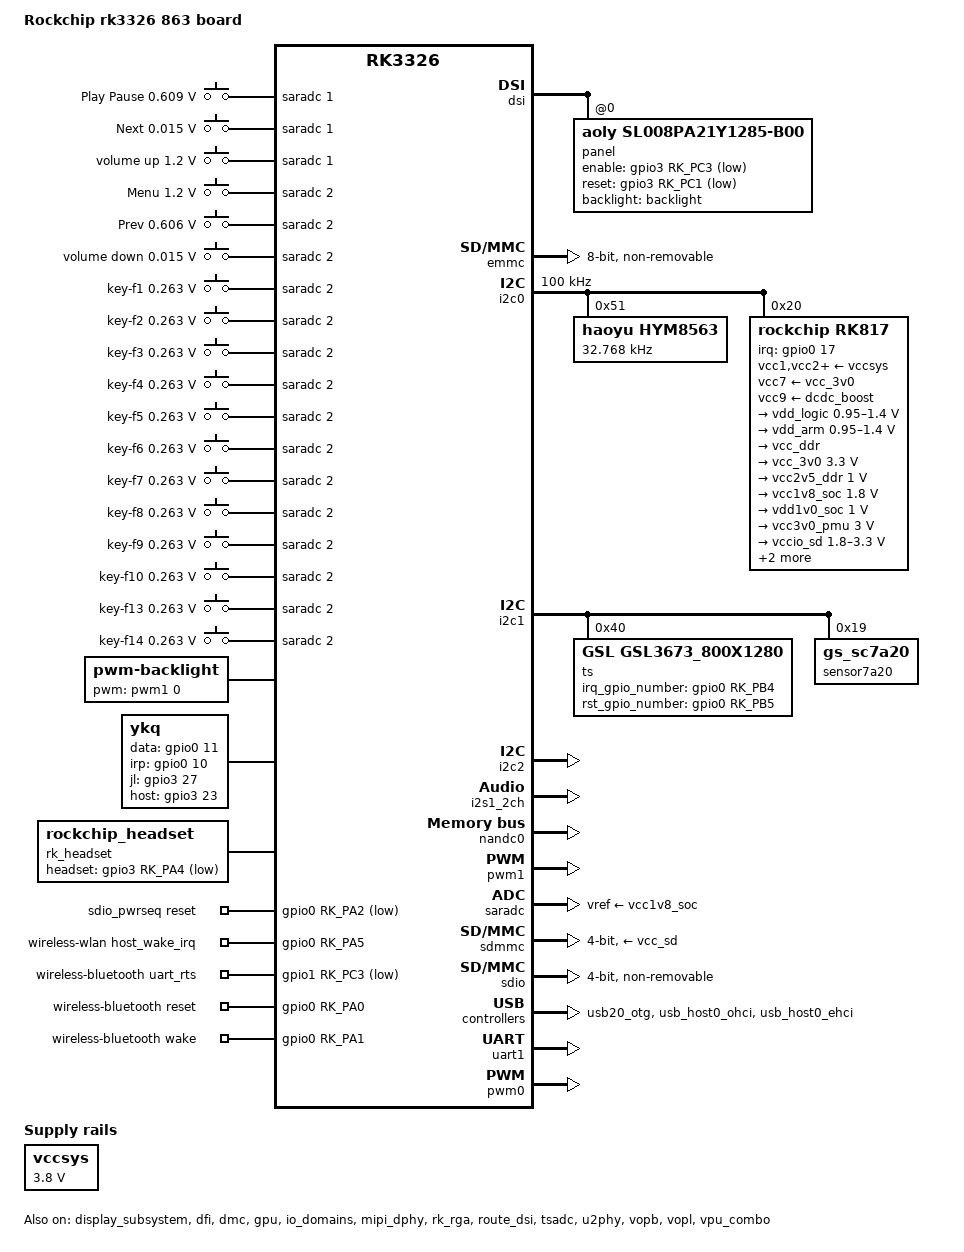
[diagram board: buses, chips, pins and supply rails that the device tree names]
/*
 * Copyright (c) 2017 Fuzhou Rockchip Electronics Co., Ltd
 *
 * SPDX-License-Identifier: (GPL-2.0+ OR MIT)
 */

/dts-v1/;
#include <dt-bindings/display/drm_mipi_dsi.h>
#include <dt-bindings/gpio/gpio.h>
#include <dt-bindings/input/input.h>
#include <dt-bindings/pinctrl/rockchip.h>
#include <dt-bindings/sensor-dev.h>
#include "rk3326.dtsi"
#include "rk3326-863-cif-sensor.dtsi"
#include "px30-android.dtsi"

/ {
	model = "Rockchip rk3326 863 board";
	compatible = "rockchip,rk3326-863-lp3-v10", "rockchip,rk3326";

	adc-keys0 {
		compatible = "adc-keys0";
		io-channels = <&saradc 1>;
		io-channel-names = "buttons";
		poll-interval = <100>;
		keyup-threshold-microvolt = <1800000>;

		button-Play {
			label = "Play Pause";
			linux,code = <KEY_ENTER>;//KEY_LEFT
			press-threshold-microvolt = <609000>;
		};		
		
		button-next {
			label = "Next";
			linux,code = <KEY_UP>;//KEY_UP
			press-threshold-microvolt = <15000>;
		};
		
		vol-up-key {
			linux,code = <KEY_RIGHT>;//KEY_BACK
			label = "volume up";
			press-threshold-microvolt = <1200000>;
		};


				
	};
	
	adc-keys {
		compatible = "adc-keys";
		io-channels = <&saradc 2>;
		io-channel-names = "buttons";
		poll-interval = <100>;
		keyup-threshold-microvolt = <1800000>;
		
		button-menu {
			label = "Menu";
			linux,code = <KEY_BACK>;//KEY_DOWN
			press-threshold-microvolt = <1200000>;
		};
		button-prev {
			label = "Prev";
			linux,code = <KEY_DOWN>;//KEY_ENTER
			press-threshold-microvolt = <606000>;
		};
		vol-down-key {
			linux,code = <KEY_LEFT>;
			label = "volume down";
			press-threshold-microvolt = <15000>;
		};

// init ykq key		
		key-f1-key {
			linux,code = <KEY_PREVIOUSSONG>;
			label = "key-f1";
			press-threshold-microvolt = <263000>;
		};		


		key-f2-key {
			linux,code = <KEY_VOLUMEUP>;
			label = "key-f2";
			press-threshold-microvolt = <263000>;
		};

		key-f3-key {
			linux,code = <KEY_NEXTSONG>;
			label = "key-f3";
			press-threshold-microvolt = <263000>;
		};		


		key-f4-key {
			linux,code = <KEY_VOLUMEDOWN>;
			label = "key-f4";
			press-threshold-microvolt = <263000>;
		};
		
		key-f5-key {
			linux,code = <KEY_PLAYPAUSE>;
			label = "key-f5";
			press-threshold-microvolt = <263000>;
		};		


		key-f6-key {
			linux,code = <KEY_BACK>;
			label = "key-f6";
			press-threshold-microvolt = <263000>;
		};

		key-f7-key {
			linux,code = <KEY_HOMEPAGE>;
			label = "key-f7";
			press-threshold-microvolt = <263000>;
		};		


		key-f8-key {
			linux,code = <KEY_F8>;
			label = "key-f8";
			press-threshold-microvolt = <263000>;
		};
						
		key-f9-key {
			linux,code = <KEY_MENU>;
			label = "key-f9";
			press-threshold-microvolt = <263000>;
		};		
		key-f10-key {
			linux,code = <KEY_MUTE>;
			label = "key-f10";
			press-threshold-microvolt = <263000>;
		};		
     key-f13-key {
      linux,code = <KEY_POWER>;
      label = "key-f13";
      press-threshold-microvolt = <263000>;
     };
     key-f14-key {
      linux,code = <KEY_F1>;
      label = "key-f14";
      press-threshold-microvolt = <263000>;
     };

				
	};

	backlight: backlight {
		compatible = "pwm-backlight";
		pwms = <&pwm1 0 25000 0>;
		brightness-levels = <
			 0   10  10  11  11  12  12  13
			 13  14  14  15  15  16  16  17
			 17  18  18  19  20  21  22  23
			 24  25  26  27  28  29  30  31
			 32  33  34  35  36  37  38  39
			 40  41  42  43  44  45  46  47
			 48  49  50  51  52  53  54  55
			 56  57  58  59  60  61  62  63
			 64  65  66  67  68  69  70  71
			 72  73  74  75  76  77  78  79
			 80  81  82  83  84  85  86  87
			 88  89  90  91  92  93  94  95
			 96  97  98  99 100 101 102 103
			104 105 106 107 108 109 110 111
			112 113 114 115 116 117 118 119
			120 121 122 123 124 125 126 127
			128 129 130 131 132 133 134 135
			136 137 138 139 140 141 142 143
			144 145 146 147 148 149 150 151
			152 153 154 155 156 157 158 159
			160 161 162 163 164 165 166 167
			168 169 170 171 172 173 174 175
			176 177 178 179 180 181 182 183
			184 185 186 187 188 189 190 191
			192 193 194 195 196 197 198 199
			200 201 202 203 204 205 206 207
			208 209 210 211 212 213 214 215
			216 217 218 219 220 221 222 223
			224 225 226 227 228 229 230 231
			232 233 234 235 236 237 238 239
			240 241 242 243 244 245 246 247
			248 249 250 251 252 253 254 255>;
		default-brightness-level = <200>;
	};

	charge-animation {
		compatible = "rockchip,uboot-charge";
		rockchip,uboot-charge-on = <0>;
		rockchip,android-charge-on = <0>;
		rockchip,uboot-low-power-voltage = <3500>;
		rockchip,screen-on-voltage = <3600>;
		status = "disabled";
	};
	ykq {
                compatible = "ykq";
                data-gpio = <&gpio0 11 GPIO_ACTIVE_HIGH>;
                irp-gpio = <&gpio0 10 IRQ_TYPE_LEVEL_HIGH>; //0 10
                jl-gpio = <&gpio3 27 IRQ_TYPE_LEVEL_HIGH>;
                host-gpio=<&gpio3 23 GPIO_ACTIVE_HIGH>;
                status = "okay";
        };
/*	jl {
                compatible = "jl";
                irp-gpio = <&gpio3 27 IRQ_TYPE_LEVEL_HIGH>; 
                status = "okay";
        };   */     
	rk817-sound {
		compatible = "simple-audio-card";
		simple-audio-card,format = "i2s";
		simple-audio-card,name = "rockchip,rk817-codec";
		simple-audio-card,mclk-fs = <256>;
		simple-audio-card,widgets =
			"Microphone", "Mic Jack",
			"Headphone", "Headphone Jack";
		simple-audio-card,routing =
			"Mic Jack", "MICBIAS1",
			"IN1P", "Mic Jack",
			"Headphone Jack", "HPOL",
			"Headphone Jack", "HPOR";
		simple-audio-card,cpu {
			sound-dai = <&i2s1_2ch>;
		};
		simple-audio-card,codec {
			sound-dai = <&rk817_codec>;
		};
	};

	rk_headset {
		compatible = "rockchip_headset";
		headset_gpio = <&gpio3 RK_PA4 GPIO_ACTIVE_LOW>;
		pinctrl-names = "default";
		pinctrl-0 = <&hp_det>;
	};

	sdio_pwrseq: sdio-pwrseq {
		compatible = "mmc-pwrseq-simple";
		clocks = <&rk817 1>;
		clock-names = "ext_clock";
		pinctrl-names = "default";
		pinctrl-0 = <&wifi_enable_h>;

		/*
		 * On the module itself this is one of these (depending
		 * on the actual card populated):
		 * - SDIO_RESET_L_WL_REG_ON
		 * - PDN (power down when low)
		 */
		reset-gpios = <&gpio0 RK_PA2 GPIO_ACTIVE_LOW>; /* GPIO3_A4 */
	};

	vccsys: vccsys {
		compatible = "regulator-fixed";
		regulator-name = "vcc3v8_sys";
		regulator-always-on;
		regulator-boot-on;
		regulator-min-microvolt = <3800000>;
		regulator-max-microvolt = <3800000>;
	};

	wireless-wlan {
		compatible = "wlan-platdata";
		wifi_chip_type = "rtl8723cs";//rtl8723cs  ap6255
		WIFI,host_wake_irq = <&gpio0 RK_PA5 GPIO_ACTIVE_HIGH>;
	//	WIFI,vbat_gpio = <&gpio3 RK_PB6 GPIO_ACTIVE_LOW>;
		status = "okay";
	};

	wireless-bluetooth {
		compatible = "bluetooth-platdata";
		uart_rts_gpios = <&gpio1 RK_PC3 GPIO_ACTIVE_LOW>;
		pinctrl-names = "default","rts_gpio";
		pinctrl-0 = <&uart1_rts>;
		pinctrl-1 = <&uart1_rts_gpio>;
		BT,reset_gpio = <&gpio0 RK_PA0 GPIO_ACTIVE_HIGH>;
		BT,wake_gpio = <&gpio0 RK_PA1 GPIO_ACTIVE_HIGH>;
		//BT,wake_host_irq = <&gpio0 RK_PA7 GPIO_ACTIVE_HIGH>;
		status = "okay";
	};

};

&cif {
	status = "disabled";
};

&cif_sensor {
	status = "disabled";
};

&display_subsystem {
	status = "okay";
};

&dsi {
	status = "okay";

	panel@0 {
		compatible = "aoly,sl008pa21y1285-b00", "simple-panel-dsi";
		reg = <0>;
		backlight = <&backlight>;
	//	power-supply = <&vcc5v0_host>;//vcc5v0_host  vcc3v3_lcd
	//	power-invert;
		enable-gpios = <&gpio3 RK_PC3 GPIO_ACTIVE_LOW>;
		reset-gpios = <&gpio3 RK_PC1 GPIO_ACTIVE_LOW>;
		prepare-delay-ms = <20>;
		reset-delay-ms = <20>;
		init-delay-ms = <20>;
		enable-delay-ms = <120>;
		disable-delay-ms = <20>;
		unprepare-delay-ms = <20>;

		width-mm = <108>;
		height-mm = <172>;

		dsi,flags = <(MIPI_DSI_MODE_VIDEO | MIPI_DSI_MODE_VIDEO_BURST |
			      MIPI_DSI_MODE_LPM | MIPI_DSI_MODE_EOT_PACKET)>;
		dsi,format = <MIPI_DSI_FMT_RGB888>;
		dsi,lanes = <4>;

		panel-init-sequence = [
/*

15 00 02  E0  00 

//--- PASSWORD  ----//
15 00 02  E1  93 
15 00 02  E2  65 
15 00 02  E3  F8 
15 00 02  80  03 



//--- Page1  ----//
15 00 02  E0  01 

//Set VCOM
15 00 02  01  67 

//Set Gamma Power, VGMP,VGMN,VGSP,VGSN
15 00 02  17  00 
15 00 02  18  BF //4.5V, D7=4.8V
15 00 02  19  01 //0.0V
15 00 02  1A  00 
15 00 02  1B  BF 
15 00 02  1C  01 
                
//Set Gate Power
15 00 02  1F  70 	//VGH_REG=16.2V
15 00 02  20  2D 	//VGL_REG=-12V
15 00 02  21  2D 	//VGL_REG2=-12V
15 00 02  22  7E 	


15 00 02  35  28 	//SAP

15 00 02  37  19 	//SS=1,BGR=1

//SET RGBCYC
15 00 02  38  05 	//JDT=101 zigzag inversion
15 00 02  39  00 
15 00 02  3A  01 
15 00 02  3C  7C 	//SET EQ3 for TE_H
15 00 02  3D  FF 	//SET CHGEN_ON, modify 20140806 
15 00 02  3E  FF 	//SET CHGEN_OFF, modify 20140806 
15 00 02  3F  7F 	//SET CHGEN_OFF2, modify 20140806


//Set TCON
15 00 02  40  06 	//RSO=
15 00 02  41  A0 	//LN=640->1280 line
15 00 02  43  1E 	//VFP=30
15 00 02  44  0B 	//VBP=12
15 00 02  45  28   //HBP=40

//--- power voltage  ----//
15 00 02  55  0F 	//DCDCM=1111
15 00 02  57  A9 
//15 00 02  58  0A 
15 00 02  59  0A 	//VCL = -2.5V
15 00 02  5A  2E 	//VGH = 16.2V
15 00 02  5B  1A 	//VGL = -12V
15 00 02  5C  15 	//pump clk


//--- Gamma  ----//
15 00 02  5D  7F 
15 00 02  5E  64 
15 00 02  5F  53 
15 00 02  60  47 
15 00 02  61  43 
15 00 02  62  33 
15 00 02  63  37 
15 00 02  64  21 
15 00 02  65  39 
15 00 02  66  37 
15 00 02  67  34 
15 00 02  68  50 
15 00 02  69  3D 
15 00 02  6A  44 
15 00 02  6B  36 
15 00 02  6C  34 
15 00 02  6D  25 
15 00 02  6E  15 
15 00 02  6F  02 
15 00 02  70  7F 
15 00 02  71  64 
15 00 02  72  53 
15 00 02  73  47 
15 00 02  74  43 
15 00 02  75  33 
15 00 02  76  37 
15 00 02  77  21 
15 00 02  78  39 
15 00 02  79  37 
15 00 02  7A  34 
15 00 02  7B  50 
15 00 02  7C  3D 
15 00 02  7D  44 
15 00 02  7E  36 
15 00 02  7F  34 
15 00 02  80  25 
15 00 02  81  15 
15 00 02  82  02 


//Page2, for GIP
15 00 02  E0  02 

//GIP_L Pin mapping
15 00 02  00  52 //RESET_EVEN
15 00 02  01  55 //VSSG_EVEN 
15 00 02  02  55 //VSSG_EVEN 
15 00 02  03  50 //STV2_ODD  
15 00 02  04  77 //VDD2_ODD  
15 00 02  05  57 //VDD1_ODD  
15 00 02  06  55 //x         
15 00 02  07  4E //CK11      
15 00 02  08  4C //CK9       
15 00 02  09  5F //x         
15 00 02  0A  4A //CK7       
15 00 02  0B  48 //CK5       
15 00 02  0C  55 //x         
15 00 02  0D  46 //CK3       
15 00 02  0E  44 //CK1       
15 00 02  0F  40 //STV1_ODD  
15 00 02  10  55 //x         
15 00 02  11  55 //x         
15 00 02  12  55 //x         
15 00 02  13  55 //x         
15 00 02  14  55 //x         
15 00 02  15  55 //x         

//GIP_R Pin mapping
15 00 02  16  53 //RESET__EVEN
15 00 02  17  55 //VSSG_EVEN  
15 00 02  18  55 //VSSG_EVEN  
15 00 02  19  51 //STV2_EVEN  
15 00 02  1A  77 //VDD2_EVEN  
15 00 02  1B  57 //VDD1_EVEN  
15 00 02  1C  55 //x          
15 00 02  1D  4F //CK12       
15 00 02  1E  4D //CK10       
15 00 02  1F  5F //x          
15 00 02  20  4B //CK8        
15 00 02  21  49 //CK6        
15 00 02  22  55 //x          
15 00 02  23  47 //CK4        
15 00 02  24  45 //CK2        
15 00 02  25  41 //STV1_EVEN  
15 00 02  26  55 //x          
15 00 02  27  55 //x          
15 00 02  28  55 //x          
15 00 02  29  55 //x          
15 00 02  2A  55 //x          
15 00 02  2B  55 //x          
                      
//GIP_L_GS Pin mapping
15 00 02  2C  13 //RESET_EVEN     
15 00 02  2D  15 //VSSG_EVEN         
15 00 02  2E  15 //VSSG_EVEN       
15 00 02  2F  01 //STV2_ODD        
15 00 02  30  37 //VDD2_ODD        
15 00 02  31  17 //VDD1_ODD        
15 00 02  32  15 //x               
15 00 02  33  0D //CK11            
15 00 02  34  0F //CK9             
15 00 02  35  15 //x               
15 00 02  36  05 //CK7             
15 00 02  37  07 //CK5             
15 00 02  38  15 //x               
15 00 02  39  09 //CK3             
15 00 02  3A  0B //CK1             
15 00 02  3B  11 //STV1_ODD        
15 00 02  3C  15 //x               
15 00 02  3D  15 //x               
15 00 02  3E  15 //x               
15 00 02  3F  15 //x               
15 00 02  40  15 //x               
15 00 02  41  15 //x              
                                       
//GIP_R_GS Pin mapping                 
15 00 02  42  12 //RESET__EVEN    
15 00 02  43  15 //VSSG_EVEN         
15 00 02  44  15 //VSSG_EVEN       
15 00 02  45  00 //STV2_EVEN       
15 00 02  46  37 //VDD2_EVEN       
15 00 02  47  17 //VDD1_EVEN       
15 00 02  48  15 //x               
15 00 02  49  0C //CK12            
15 00 02  4A  0E //CK10            
15 00 02  4B  15 //x               
15 00 02  4C  04 //CK8             
15 00 02  4D  06 //CK6             
15 00 02  4E  15 //x               
15 00 02  4F  08 //CK4             
15 00 02  50  0A //CK2              
15 00 02  51  10 //STV1_EVEN       
15 00 02  52  15 //x               
15 00 02  53  15 //x               
15 00 02  54  15 //x               
15 00 02  55  15 //x               
15 00 02  56  15 //x               
15 00 02  57  15 //x               

//GIP Timing  
15 00 02  58  40  
15 00 02  5B  10  
15 00 02  5C  06 //STV_S0 
15 00 02  5D  40  
15 00 02  5E  00  
15 00 02  5F  00  
15 00 02  60  40 //ETV_W 
15 00 02  61  03  
15 00 02  62  04  
15 00 02  63  6C //CKV_ON 
15 00 02  64  6C //CKV_OFF 
15 00 02  65  75  
15 00 02  66  08 //ETV_S0 
15 00 02  67  B4  //ckv_num/ckv_w
15 00 02  68  08  //CKV_S0
15 00 02  69  6C //CKV_ON
15 00 02  6A  6C //CKV_OFF 
15 00 02  6B  0C  //dummy
15 00 02  6D  00 //GGND1 
15 00 02  6E  00 //GGND2 
15 00 02  6F  88  
 
15 00 02  75  BB //FLM_EN 
15 00 02  76  00  
15 00 02  77  05  
15 00 02  78  2A //FLM_OFF 



//Page4
15 00 02  E0  04 
15 00 02  09  11 
15 00 02  0E  48 	//Source EQ option
15 00 02  2B  2B 
15 00 02  2D  03 //defult  01
15 00 02  2E  44 

//Page5
15 00 02  E0  05 
15 00 02  12  72 //VCI GAS detect voltage

//Page0
15 00 02  E0  00 
15 00 02  E6  02 //WD_Timer
15 00 02  E7  0C //WD_Timer

05 78 01 11
05 14 01 29
*/


      ///////////////////////////

15 00 02   E0  00 
//--- PASSWORD  ----//
15 00 02   E1  93 
15 00 02   E2  65 
15 00 02   E3  F8 

//Lane select by internal reg  4 lanes
15 00 02   E0  04 
15 00 02   2D  03 //defult  01

15 00 02   E0  00 
15 00 02   80  03 // 03：4-LANE; 02:3-LANE

//--- Sequence Ctrl  ----//
15 00 02   70  02 	//DC0,DC1
15 00 02   71  23 	//DC2,DC3
15 00 02   72  06 	//DC7

//--- Page1  ----//
15 00 02   E0  01 
//Set VCOM
15 00 02   00  00 
15 00 02   01  66 
//Set VCOM_Reverse
15 00 02   03  00 
15 00 02   04  6D 
//Set Gamma Power, VGMP,VGMN,VGSP,VGSN
15 00 02   17  00 
15 00 02   18  BF //4.5V
15 00 02   19  00 
15 00 02   1A  00 
15 00 02   1B  BF   //VGMN=-4.5V
15 00 02   1C  00 
               
//Set Gate Power
15 00 02   1F  3E      //VGH_R  = 15V                       
15 00 02   20  28      //VGL_R  = -11V                      
15 00 02   21  28      //VGL_R2 = -11V                      
15 00 02   22  0E      //PA[6]=0, PA[5]=0, PA[4]=0, PA[0]=0 

//SETPANEL
15 00 02   37  09 	//SS=1,BGR=1
//SET RGBCYC
15 00 02   38  04 	//JDT=100 column inversion
15 00 02   39  08 	//RGB_N_EQ1, modify 20140806
15 00 02   3A  12 	//RGB_N_EQ2, modify 20140806
15 00 02   3C  78 	//SET EQ3 for TE_H
15 00 02   3D  FF 	//SET CHGEN_ON, modify 20140806 
15 00 02   3E  FF 	//SET CHGEN_OFF, modify 20140806 
15 00 02   3F  7F 	//SET CHGEN_OFF2, modify 20140806

//Set TCON
15 00 02   40  06 	//RSO=800 RGB
15 00 02   41  A0 	//LN=640->1280 line
//--- power voltage  ----//
15 00 02   55  0F 	//DCDCM=0001, JD5002/JD5001;Other: 0F
15 00 02   56  01 
15 00 02   57  69 
15 00 02   58  0A 
15 00 02   59  0A 	//VCL = -2.5V
15 00 02   5A  29 	//VGH = 15.2V
15 00 02   5B  15 	//VGL = -11.2V

//--- Gamma  ----//
15 00 02   5D  7C               
15 00 02   5E  65       
15 00 02   5F  55     
15 00 02   60  49     
15 00 02   61  44     
15 00 02   62  35     
15 00 02   63  3A     
15 00 02   64  23     
15 00 02   65  3D     
15 00 02   66  3C     
15 00 02   67  3D     
15 00 02   68  5D     
15 00 02   69  4D     
15 00 02   6A  56     
15 00 02   6B  48     
15 00 02   6C  45     
15 00 02   6D  38     
15 00 02   6E  25     
15 00 02   6F  00     
15 00 02   70  7C     
15 00 02   71  65     
15 00 02   72  55     
15 00 02   73  49     
15 00 02   74  44     
15 00 02   75  35     
15 00 02   76  3A     
15 00 02   77  23     
15 00 02   78  3D     
15 00 02   79  3C     
15 00 02   7A  3D     
15 00 02   7B  5D     
15 00 02   7C  4D     
15 00 02   7D  56     
15 00 02   7E  48     
15 00 02   7F  45     
15 00 02   80  38     
15 00 02   81  25     
15 00 02   82  00     
                                 
//Page2, for GIP                                      
15 00 02   E0  02                                 
//GIP_L Pin mapping                                   
15 00 02   00  1E //1  VDS                        
15 00 02   01  1E //2  VDS                        
15 00 02   02  41 //3  STV2                       
15 00 02   03  41 //4  STV2                       
15 00 02   04  43 //5  STV4                       
15 00 02   05  43 //6  STV4                       
15 00 02   06  1F //7  VSD                        
15 00 02   07  1F //8  VSD                        
15 00 02   08  1F //9  GCL                        
15 00 02   09  1F //10                            
15 00 02   0A  1E //11 GCH                        
15 00 02   0B  1E //12 GCH                        
15 00 02   0C  1F //13                            
15 00 02   0D  47 //14 CLK8                       
15 00 02   0E  47 //15 CLK8                       
15 00 02   0F  45 //16 CLK6                       
15 00 02   10  45 //17 CLK6                       
15 00 02   11  4B //18 CLK4                       
15 00 02   12  4B //19 CLK4                       
15 00 02   13  49 //20 CLK2                       
15 00 02   14  49 //21 CLK2                       
15 00 02   15  1F //22 VGL                        
                                                      
                                                      
//GIP_R Pin mapping                                   
15 00 02   16  1E //1  VDS                 
15 00 02   17  1E //2  VDS                
15 00 02   18  40 //3  STV1               
15 00 02   19  40 //4  STV1               
15 00 02   1A  42 //5  STV3               
15 00 02   1B  42 //6  STV3               
15 00 02   1C  1F //7  VSD                
15 00 02   1D  1F //8  VSD                
15 00 02   1E  1F //9  GCL                
15 00 02   1F  1f //10                    
15 00 02   20  1E //11 GCH                
15 00 02   21  1E //12 GCH                
15 00 02   22  1f //13                    
15 00 02   23  46 //14 CLK7               
15 00 02   24  46 //15 CLK7               
15 00 02   25  44 //16 CLK5               
15 00 02   26  44 //17 CLK5               
15 00 02   27  4A //18 CLK3               
15 00 02   28  4A //19 CLK3               
15 00 02   29  48 //20 CLK1               
15 00 02   2A  48 //21 CLK1               
15 00 02   2B  1f //22 VGL                                 
     
//GIP_L_GS Pin mapping
15 00 02   2C  1F //1  VDS 		 1E
15 00 02   2D  1F //2  VDS           1E
15 00 02   2E  42 //3  STV2          41
15 00 02   2F  42 //4  STV2          41
15 00 02   30  40 //5  STV4          43
15 00 02   31  40 //6  STV4          43
15 00 02   32  1E //7  VSD           1F
15 00 02   33  1E //8  VSD           1F
15 00 02   34  1F //9  GCL           1F
15 00 02   35  1F //10               1F
15 00 02   36  1E //11 GCH           1E
15 00 02   37  1E //12 GCH           1E
15 00 02   38  1F //13               1F
15 00 02   39  48 //14 CLK8          47
15 00 02   3A  48 //15 CLK8          47
15 00 02   3B  4A //16 CLK6          45
15 00 02   3C  4A //17 CLK6          45
15 00 02   3D  44 //18 CLK4          4B
15 00 02   3E  44 //19 CLK4          4B
15 00 02   3F  46 //20 CLK2          49
15 00 02   40  46 //21 CLK2          49
15 00 02   41  1F //22 VGL           1F

//GIP_R_GS Pin mapping
15 00 02   42  1F //1  VDS 		 1E
15 00 02   43  1F //2  VDS           1E
15 00 02   44  43 //3  STV1          40
15 00 02   45  43 //4  STV1          40
15 00 02   46  41 //5  STV3          42
15 00 02   47  41 //6  STV3          42
15 00 02   48  1E //7  VSD           1F
15 00 02   49  1E //8  VSD           1F
15 00 02   4A  1E //9  GCL           1F
15 00 02   4B  1F //10               1f
15 00 02   4C  1E //11 GCH           1E
15 00 02   4D  1E //12 GCH           1E
15 00 02   4E  1F //13               1f
15 00 02   4F  49 //14 CLK7          46
15 00 02   50  49 //15 CLK7          46
15 00 02   51  4B //16 CLK5          44
15 00 02   52  4B //17 CLK5          44
15 00 02   53  45 //18 CLK3          4A
15 00 02   54  45 //19 CLK3          4A
15 00 02   55  47 //20 CLK1          48
15 00 02   56  47 //21 CLK1          48
15 00 02   57  1F //22 VGL           1f

//GIP Timing  
15 00 02   58  10  
15 00 02   59  00  
15 00 02   5A  00  
15 00 02   5B  30  //STV_S0
15 00 02   5C  02  //STV_S0
15 00 02   5D  40  //STV_W / S1
15 00 02   5E  01  //STV_S2
15 00 02   5F  02  //STV_S3
15 00 02   60  30  //ETV_W / S1
15 00 02   61  01  //ETV_S2
15 00 02   62  02  //ETV_S3
15 00 02   63  6A  //SETV_ON  
15 00 02   64  6A  //SETV_OFF 
15 00 02   65  05  //ETV
15 00 02   66  12  
15 00 02   67  74  
15 00 02   68  04  
15 00 02   69  6A  
15 00 02   6A  6A  
15 00 02   6B  08  

15 00 02   6C  00  
15 00 02   6D  04  
15 00 02   6E  04  
15 00 02   6F  88  
15 00 02   70  00  
15 00 02   71  00  
15 00 02   72  06  
15 00 02   73  7B  
15 00 02   74  00  
15 00 02   75  07  
15 00 02   76  00  
15 00 02   77  5D  
15 00 02   78  17  
15 00 02   79  1F  
15 00 02   7A  00  
15 00 02   7B  00  
15 00 02   7C  00  
15 00 02   7D  03  
15 00 02   7E  7B  

//Page4
15 00 02   E0  04 
15 00 02   2B  2B 
15 00 02   2E  44 

//Page1
15 00 02   E0  01 
15 00 02   0E  01 	//LEDON output VCSW2

//Page3
15 00 02   E0  03 
15 00 02   98  2F 	//From 2E to 2F, LED_VOL

//Page0
15 00 02   E0  00 
15 00 02   E6  02 
15 00 02   E7  02 


05 78 01 11
05 14 01 29


//--- TE----//
15 00 02   35  00 







		];

		panel-exit-sequence = [
			05 00 01 28
			05 00 01 10
		];

		display-timings {
			native-mode = <&timing0>;

			timing0: timing0 {
				clock-frequency = <66000000>;
				hactive = <800>;
				vactive = <1280>;//1068
				hfront-porch = <30>;
				hsync-len = <20>;
				hback-porch = <20>;
				vfront-porch = <20>;//124
				vsync-len = <4>;
				vback-porch = <12>;//116
				hsync-active = <0>;
				vsync-active = <0>;
				de-active = <0>;
				pixelclk-active = <0>;
			};
		};
	};
};

&cpu0 {
	cpu-supply = <&vdd_arm>;
};

&cpu0_opp_table {
	/*
	 * max IR-drop values on different freq condition for this board!
	 */
	rockchip,board-irdrop = <
		/*MHz	MHz	uV */
		0	815	37500
		816	1119	50000
		1200	1512	75000
	>;
};

&dmc_opp_table {
	/*
	 * max IR-drop values on different freq condition for this board!
	 */
	rockchip,board-irdrop = <
		/*MHz	MHz	uV */
		0   450 50000
		451	800	75000
	>;
};

&dsi_in_vopl {
	status = "disabled";
};

&dfi {
	status = "okay";
};

&dmc {
	center-supply = <&vdd_logic>;
	status = "okay";
};

&emmc {
	bus-width = <8>;
	cap-mmc-highspeed;
	mmc-hs200-1_8v;
	supports-emmc;
	disable-wp;
	non-removable;
	num-slots = <1>;
	status = "okay";
};

&gpu {
	mali-supply = <&vdd_logic>;
	status = "okay";
};

&i2c0 {
	status = "okay";
	clock-frequency = <100000>;
  hym8563: hym8563@51 {
                compatible = "haoyu,hym8563";
                reg = <0x51>;
                #clock-cells = <0>;
                clock-frequency = <32768>;
                clock-output-names = "xin32k";
                /* rtc_int is not connected */
                status = "okay";
        };

	rk817: pmic@20 {
		compatible = "rockchip,rk817";
		reg = <0x20>;
		interrupt-parent = <&gpio0>;
		interrupts = <17 IRQ_TYPE_LEVEL_LOW>;
		pinctrl-names = "default", "pmic-sleep",
				"pmic-power-off", "pmic-reset";
		pinctrl-0 = <&pmic_int>;
		pinctrl-1 = <&soc_slppin_slp>, <&rk817_slppin_slp>;
		pinctrl-2 = <&soc_slppin_gpio>, <&rk817_slppin_pwrdn>;
		pinctrl-3 = <&soc_slppin_rst>, <&rk817_slppin_rst>;
		rockchip,system-power-controller;
		wakeup-source;
		#clock-cells = <1>;
		clock-output-names = "rk808-clkout1", "rk808-clkout2";
		//fb-inner-reg-idxs = <2>;
		/* 1: rst regs (default in codes), 0: rst the pmic */
		pmic-reset-func = <1>;

		vcc1-supply = <&vccsys>;
		vcc2-supply = <&vccsys>;
		vcc3-supply = <&vccsys>;
		vcc4-supply = <&vccsys>;
		vcc5-supply = <&vccsys>;
		vcc6-supply = <&vccsys>;
		vcc7-supply = <&vcc_3v0>;
		vcc8-supply = <&vccsys>;
		vcc9-supply = <&dcdc_boost>;

		pwrkey {
			status = "okay";
		};

		pinctrl_rk8xx: pinctrl_rk8xx {
			gpio-controller;
			#gpio-cells = <2>;

			rk817_ts_gpio1: rk817_ts_gpio1 {
				pins = "gpio_ts";
				function = "pin_fun1";
				/* output-low; */
				/* input-enable; */
			};

			rk817_gt_gpio2: rk817_gt_gpio2 {
				pins = "gpio_gt";
				function = "pin_fun1";
			};

			rk817_pin_ts: rk817_pin_ts {
				pins = "gpio_ts";
				function = "pin_fun0";
			};

			rk817_pin_gt: rk817_pin_gt {
				pins = "gpio_gt";
				function = "pin_fun0";
			};

			rk817_slppin_null: rk817_slppin_null {
				pins = "gpio_slp";
				function = "pin_fun0";
			};

			rk817_slppin_slp: rk817_slppin_slp {
				pins = "gpio_slp";
				function = "pin_fun1";
			};

			rk817_slppin_pwrdn: rk817_slppin_pwrdn {
				pins = "gpio_slp";
				function = "pin_fun2";
			};

			rk817_slppin_rst: rk817_slppin_rst {
				pins = "gpio_slp";
				function = "pin_fun3";
			};
		};

		regulators {
			vdd_logic: DCDC_REG1 {
				regulator-always-on;
				regulator-boot-on;
				regulator-min-microvolt = <950000>;
				regulator-max-microvolt = <1400000>;
				regulator-ramp-delay = <6001>;
				regulator-initial-mode = <0x2>;
				regulator-name = "vdd_logic";
				regulator-state-mem {
					regulator-on-in-suspend;
					regulator-suspend-microvolt = <950000>;
				};
			};

			vdd_arm: DCDC_REG2 {
				regulator-always-on;
				regulator-boot-on;
				regulator-min-microvolt = <950000>;
				regulator-max-microvolt = <1400000>;
				regulator-ramp-delay = <6001>;
				regulator-initial-mode = <0x2>;
				regulator-name = "vdd_arm";
				regulator-state-mem {
					regulator-off-in-suspend;
					regulator-suspend-microvolt = <950000>;
				};
			};

			vcc_ddr: DCDC_REG3 {
				regulator-always-on;
				regulator-boot-on;
				regulator-initial-mode = <0x2>;
				regulator-name = "vcc_ddr";
				regulator-state-mem {
					regulator-on-in-suspend;
				};
			};

			vcc_3v0: DCDC_REG4 {
				regulator-always-on;
				regulator-boot-on;
				regulator-min-microvolt = <3300000>;
				regulator-max-microvolt = <3300000>;
				regulator-initial-mode = <0x2>;
				regulator-name = "vcc_3v0";
				regulator-state-mem {
					regulator-on-in-suspend;
					regulator-suspend-microvolt = <3300000>;
				};
			};

			vcc2v5_ddr: LDO_REG1 {
				regulator-always-on;
				regulator-boot-on;
				regulator-min-microvolt = <1000000>;
				regulator-max-microvolt = <1000000>;
				regulator-initial-mode = <0x1>;
				regulator-name = "vcc2v5_ddr";
				regulator-state-mem {
					regulator-on-in-suspend;
					regulator-suspend-microvolt = <1000000>;
				};
			};

			vcc1v8_soc: LDO_REG2 {
				regulator-always-on;
				regulator-boot-on;
				regulator-min-microvolt = <1800000>;
				regulator-max-microvolt = <1800000>;

				regulator-name = "vcc1v8_soc";
				regulator-state-mem {
					regulator-on-in-suspend;
					regulator-suspend-microvolt = <1800000>;
				};
			};

			vdd1v0_soc: LDO_REG3 {
				regulator-always-on;
				regulator-boot-on;
				regulator-min-microvolt = <1000000>;
				regulator-max-microvolt = <1000000>;

				regulator-name = "vcc1v0_soc";
				regulator-state-mem {
					regulator-on-in-suspend;
					regulator-suspend-microvolt = <1000000>;
				};
			};

			vcc3v0_pmu: LDO_REG4 {
				regulator-always-on;
				regulator-boot-on;
				regulator-min-microvolt = <3000000>;
				regulator-max-microvolt = <3000000>;

				regulator-name = "vcc3v0_pmu";
				regulator-state-mem {
					regulator-on-in-suspend;
					regulator-suspend-microvolt = <3000000>;

				};
			};

			vccio_sd: LDO_REG5 {
				regulator-always-on;
				regulator-boot-on;
				regulator-min-microvolt = <1800000>;
				regulator-max-microvolt = <3300000>;

				regulator-name = "vccio_sd";
				regulator-state-mem {
					regulator-on-in-suspend;
					regulator-suspend-microvolt = <3300000>;
				};
			};

			vcc_sd: LDO_REG6 {
				regulator-always-on;
				regulator-boot-on;			
				regulator-min-microvolt = <3300000>;
				regulator-max-microvolt = <3300000>;

				regulator-name = "vcc_sd";
				regulator-state-mem {
					regulator-on-in-suspend;
					regulator-suspend-microvolt = <3300000>;

				};
			};

			vcc2v8_dvp: LDO_REG7 {
				regulator-always-on;
				regulator-boot-on;
				regulator-min-microvolt = <2800000>;
				regulator-max-microvolt = <2800000>;

				regulator-name = "vcc2v8_dvp";
				regulator-state-mem {
					regulator-off-in-suspend;
					regulator-suspend-microvolt = <2800000>;
				};
			};

			vcc1v8_dvp: LDO_REG8 {
				regulator-always-on;
				regulator-boot-on;
				regulator-min-microvolt = <1800000>;
				regulator-max-microvolt = <1800000>;

				regulator-name = "vcc1v8_dvp";
				regulator-state-mem {
					regulator-on-in-suspend;
					regulator-suspend-microvolt = <1800000>;
				};
			};

			vdd1v5_dvp: LDO_REG9 {
				regulator-always-on;
				regulator-boot-on;
				regulator-min-microvolt = <1500000>;
				regulator-max-microvolt = <1500000>;

				regulator-name = "vdd1v5_dvp";
				regulator-state-mem {
					regulator-off-in-suspend;
					regulator-suspend-microvolt = <1500000>;
				};
			};

			dcdc_boost: BOOST {
				regulator-always-on;
				regulator-boot-on;
				regulator-min-microvolt = <4700000>;
				regulator-max-microvolt = <5400000>;
				regulator-name = "boost";
			};

			otg_switch: OTG_SWITCH {
				regulator-boot-on;
				regulator-name = "otg_switch";
			};
		};

		battery {
			compatible = "rk817,battery";
			ocv_table = <3500 3639 3684 3700 3727 3744 3761 3779 3791 3805 3823 3844 3872 3919 3960 3985 4046 4087 4136 4186 4246>;
			design_capacity = <3800>;
			design_qmax = <4400>;
			bat_res = <100>;
			sleep_enter_current = <150>;
			sleep_exit_current = <180>;
			sleep_filter_current = <100>;
			power_off_thresd = <3500>;
			zero_algorithm_vol = <3950>;
			max_soc_offset = <60>;
			monitor_sec = <5>;
			sample_res = <10>;
			virtual_power = <0>;
		};

		charger {
			compatible = "rk817,charger";
			min_input_voltage = <4500>;
			max_input_current = <2000>;
			max_chrg_current = <1600>;
			max_chrg_voltage = <4200>;
			chrg_term_mode = <1>;
			chrg_finish_cur = <300>;
			virtual_power = <0>;
			dc_det_adc = <0>;
			extcon = <&u2phy>;
		};

		rk817_codec: codec {
			#sound-dai-cells = <0>;
			compatible = "rockchip,rk817-codec";
			clocks = <&cru SCLK_I2S1_OUT>;
			clock-names = "mclk";
			pinctrl-names = "default";
			pinctrl-0 = <&i2s1_2ch_mclk>;
			spk-ctl-gpios = <&gpio3 RK_PC2 GPIO_ACTIVE_HIGH>;
			hp-volume = <20>;
			spk-volume = <3>;
			mic-in-differential;
			status = "okay";
		};
	};
};

&i2c1 {
	status = "okay";

	ts@40 {
		status = "okay";
		compatible = "GSL,GSL3673_800X1280";
		reg = <0x40>;
		irq_gpio_number = <&gpio0 RK_PB4 IRQ_TYPE_LEVEL_LOW>;
		rst_gpio_number = <&gpio0 RK_PB5 GPIO_ACTIVE_HIGH>;
	};
	sensor7660@1d {
		compatible = "gs_sc7660"; 
		reg = <0x1d>; 
		type = <SENSOR_TYPE_ACCEL>; 
		//irq-gpio = <&gpio2 GPIO_B2 IRQ_TYPE_EDGE_FALLING>; 
		irq_enable = <0>; 
		poll_delay_ms = <30>; 
		layout = <7>; //<7>;//<5>; 
		reprobe_en = <1>;
		revert_x = <0>;
		revert_y = <0>;
		revert_z = <0>;
		status = "disabled";
	};

	sensor7a20@19 {
		compatible = "gs_sc7a20"; 
		reg = <0x19>; 
		type = <SENSOR_TYPE_ACCEL>; 
		//irq-gpio = <&gpio2 GPIO_B2 IRQ_TYPE_EDGE_FALLING>; 
		irq_enable = <0>; 
		poll_delay_ms = <30>; 
		layout = <7>; //<7>;//<5>; 
		reprobe_en = <1>;
		revert_x = <0>;
		revert_y = <0>;
		revert_z = <0>;
		status = "okay";
	};
	sensor@19 {
		status = "disabled";
		compatible = "gs_lis3dh";
		reg = <0x19>;
		type = <SENSOR_TYPE_ACCEL>;
		irq-gpio = <&gpio0 RK_PB5 IRQ_TYPE_LEVEL_LOW>;
		irq_enable = <0>;
		poll_delay_ms = <30>;
		layout = <7>;
		reprobe_en = <1>;
	};
};

&i2c2 {
	status = "okay";
};

&i2s1_2ch {
	status = "okay";
	#sound-dai-cells = <0>;
};

&io_domains {
	status = "okay";

	vccio1-supply = <&vcc_3v0>;
	vccio2-supply = <&vccio_sd>;
	vccio3-supply = <&vcc1v8_dvp>;
	vccio4-supply = <&vcc_3v0>;
	vccio5-supply = <&vcc_3v0>;
};

&mipi_dphy {
	status = "okay";
};

&nandc0 {
	status = "okay";
};

&pinctrl {
	headphone {
		hp_det: hp-det {
			rockchip,pins = <3 RK_PA4 RK_FUNC_GPIO &pcfg_pull_up>;
		};
	};

	pmic {
		pmic_int: pmic_int {
			rockchip,pins =
				<3 RK_PD2 RK_FUNC_GPIO &pcfg_pull_up>;
		};

		soc_slppin_gpio: soc_slppin_gpio {
			rockchip,pins =
				<0 RK_PA4 RK_FUNC_GPIO &pcfg_output_low>;
		};

		soc_slppin_slp: soc_slppin_slp {
			rockchip,pins =
				<0 RK_PA4 RK_FUNC_1 &pcfg_pull_none>;
		};

		soc_slppin_rst: soc_slppin_rst {
			rockchip,pins =
				<0 RK_PA4 RK_FUNC_2 &pcfg_pull_none>;
		};
	};

	sdio-pwrseq {
		wifi_enable_h: wifi-enable-h {
			rockchip,pins = <0 RK_PA2 RK_FUNC_GPIO &pcfg_pull_none>;
		};
	};
};

&pmu_io_domains {
	status = "okay";

	pmuio1-supply = <&vcc3v0_pmu>;
	pmuio2-supply = <&vcc3v0_pmu>;
};

&pwm1 {
	status = "okay";
};

&rk_rga {
	status = "okay";
};

&rockchip_suspend {
	status = "okay";
	rockchip,sleep-debug-en = <1>;
};

&route_dsi {
	status = "okay";
};

&saradc {
	status = "okay";
	vref-supply = <&vcc1v8_soc>;
};

&sdmmc {
	bus-width = <4>;
	cap-mmc-highspeed;
	cap-sd-highspeed;
	supports-sd;//supports-emmc;
	supports-emmc;
	card-detect-delay = <1500>;
	ignore-pm-notify;
	sd-uhs-sdr12;
	sd-uhs-sdr25;
	sd-uhs-sdr50;
	sd-uhs-sdr104;
	vqmmc-supply = <&vccio_sd>;
	vmmc-supply = <&vcc_sd>;
//	status = "disabled";
	status = "okay";
};

&sdio {
	bus-width = <4>;
	cap-sd-highspeed;
	supports-sdio;
	ignore-pm-notify;
	keep-power-in-suspend;
	non-removable;
	mmc-pwrseq = <&sdio_pwrseq>;
	sd-uhs-sdr104;
	status = "okay";
};

&tsadc {
	pinctrl-names = "init", "default";
	pinctrl-0 = <&tsadc_otp_gpio>;
	pinctrl-1 = <&tsadc_otp_out>;
	status = "okay";
};

&u2phy {
	status = "okay";

	u2phy_host: host-port {
		rockchip,low-power-mode;
		status = "okay";
	};

	u2phy_otg: otg-port {
	//  vbus-supply = <&vcc5v0_host>;
		rockchip,low-power-mode;
		status = "okay";
	};
};

&usb20_otg {
	status = "okay";
};

&usb_host0_ohci {
	status = "okay";
};

&usb_host0_ehci {
	status = "okay";
};

&uart1 {
	pinctrl-names = "default";
	pinctrl-0 = <&uart1_xfer &uart1_cts>;
	status = "okay";
};

&vip_mmu {
	status = "okay";
};

&vopb {
	status = "okay";
};

&vopb_mmu {
	status = "okay";
};

&vopl {
	status = "okay";
};

&vopl_mmu {
	status = "okay";
};

&vpu_combo {
	status = "okay";
};

&pwm0 {
	compatible = "rockchip,remotectl-pwm";
	interrupts = <GIC_SPI 24 IRQ_TYPE_LEVEL_HIGH>;
	pinctrl-names = "default";
	pinctrl-0 = <&pwm0_pin>;
	remote_support_psci = <1>;
	remote_pwm_id = <0>;
	handle_cpu_id = <1>;
	status = "okay";
//	status = "disabled";
/*
        ir_key1{
                rockchip,usercode = <0x7f80>;
                //rockchip,key_table =<0xe5   388>;
                rockchip,key_table =
                        <0x59   KEY_POWER>, //power
                        <0x5a   KEY_UP>, //up
                        <0x5b   KEY_DOWN>, //down
                        <0x5c  	KEY_RIGHT>, //right
			<0x5d   KEY_LEFT>, //left
                        <0x5e   KEY_BACK>, //back
                        <0x5f   KEY_ENTER>; //ok
                };
*/		
        ir_key2{
                rockchip,usercode = <0x7f80>;
                //rockchip,key_table =<0xe5   388>;
                rockchip,key_table =
                        <0xed   KEY_MUTE>, //静音 	1 
                        <0xe5   KEY_COMPOSE>, //home 	0 F1
                        <0xe1   KEY_POWER>, //power 	1 
                        <0xfe   KEY_HOME>, //photo	0 F2
                        <0xfd   KEY_HANGEUL>, //music	0 F3
                        <0xfc   KEY_SCROLLUP>, //movie	0 F4
                        <0xfb   KEY_FASTFORWARD>, //stop_start1
                        <0xfa   KEY_UP>, //up		1
                        <0xf9   KEY_BACK>, //exit 	1
                        <0xf8   KEY_LEFT>, //left	1
                        <0xf7   KEY_ENTER>, //enter	1
                        <0xf6   KEY_RIGHT>, //right	1
                        <0xf5   KEY_HANJA>, //setup	1
                        <0xe4   KEY_DOWN>, //down	1
                        <0xe0   KEY_KPMINUS>, //calen dar 	0 F5
                        <0xf3   KEY_VOLUMEUP>, //vol+	1
                        <0xf2   KEY_YEN>, // <<		0 F6
                        <0xf1   KEY_PREVIOUSSONG>, // |<<		0 F7
                        <0xff   KEY_VOLUMEDOWN>, //vol-	1
                        <0xf0   KEY_RO>, //>>		0 F8
                        <0xe6   KEY_NEXTSONG>; // >>|		0 F9
                };

        };
